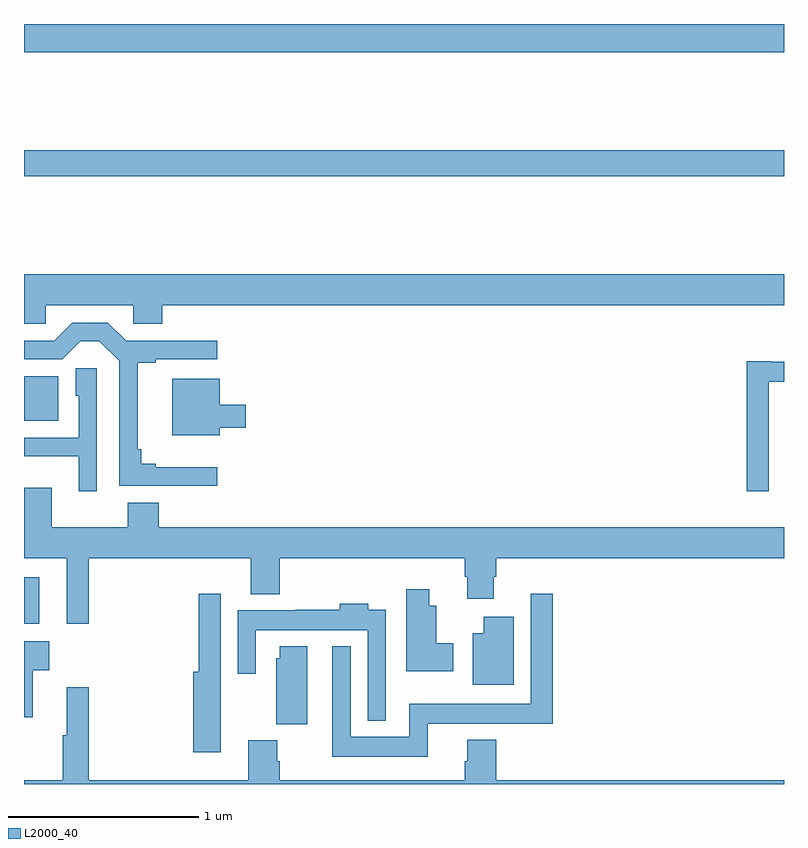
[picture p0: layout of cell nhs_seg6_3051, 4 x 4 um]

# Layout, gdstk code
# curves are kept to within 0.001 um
import gdstk
lib = gdstk.Library(unit=1e-6, precision=1e-09)
def R(c, l, rs):  # rectangles x0, y0, x1, y1
    for r in rs: c.add(gdstk.rectangle(r[:2], r[2:], *l))
def P(c, l, *ps):  # polygons
    for p in ps: c.add(gdstk.Polygon(p, *l))
L2000_40 = (2000, 40)

nhs_seg6_3051 = lib.new_cell('nhs_seg6_3051')
R(nhs_seg6_3051, L2000_40, [(291,928.343,291.079,928.588), (291,929.411,291.181,929.647), (291,930.7,295,930.836), (291,931.352,295,931.5)])
P(nhs_seg6_3051, L2000_40, [(291.114,930.02),(291.576,930.02),(291.576,929.922),(291.728,929.922),(291.728,930.02),(295,930.02),(295,930.184),(291,930.184),(291,929.922),(291.114,929.922)],
  [(292.018,929.167),(291.694,929.167),(291.694,929.186),(291.617,929.186),(291.617,929.263),(291.599,929.263),(291.599,929.716),(291.694,929.716),(291.694,929.736),(292.018,929.736),(292.018,929.834),(291.771,929.834),(291.771,929.832),(291.538,929.832),(291.442,929.928),(291.255,929.928),(291.159,929.832),(291,929.832),(291,929.736),(291.201,929.736),(291.296,929.831),(291.397,929.831),(291.501,929.727),(291.501,929.07),(292.018,929.069)],
  [(294.921,929.618),(295,929.618),(295,929.722),(294.928,929.722),(294.928,929.725),(294.805,929.725),(294.805,929.04),(294.921,929.04)],
  [(291.384,929.687),(291.272,929.687),(291.272,929.544),(291.288,929.544),(291.288,929.322),(291,929.322),(291,929.225),(291.287,929.225),(291.287,929.04),(291.384,929.04)],
  [(292.03,929.375),(292.168,929.375),(292.168,929.497),(292.03,929.497),(292.03,929.632),(291.779,929.632),(291.779,929.336),(292.03,929.336)],
  [(291.341,928.688),(292.193,928.688),(292.193,928.499),(292.346,928.499),(292.346,928.688),(293.321,928.688),(293.321,928.59),(293.333,928.59),(293.333,928.476),(293.473,928.476),(293.473,928.59),(293.486,928.59),(293.486,928.688),(295,928.688),(295,928.852),(291.709,928.852),(291.709,928.981),(291.545,928.981),(291.545,928.852),(291.145,928.852),(291.145,929.059),(291,929.059),(291,928.688),(291.224,928.688),(291.224,928.344),(291.341,928.344)],
  [(293.26,928.242),(293.17,928.242),(293.17,928.438),(293.134,928.438),(293.134,928.525),(293.012,928.525),(293.012,928.094),(293.26,928.094)],
  [(293.126,927.818),(293.66,927.818),(293.66,927.816),(293.783,927.816),(293.783,928.501),(293.667,928.501),(293.667,927.922),(293.028,927.922),(293.028,927.748),(292.719,927.748),(292.719,928.225),(292.622,928.225),(292.622,927.644),(293.126,927.644)],
  [(292.036,927.986),(292.035,927.986),(292.035,928.501),(291.919,928.501),(291.919,928.09),(291.89,928.09),(291.89,927.666),(292.036,927.666)],
  [(292.905,928.417),(292.813,928.417),(292.813,928.45),(292.661,928.45),(292.661,928.417),(292.429,928.417),(292.429,928.414),(292.125,928.414),(292.125,928.08),(292.221,928.08),(292.221,928.31),(292.809,928.31),(292.809,927.833),(292.905,927.833)],
  [(293.578,928.381),(293.42,928.381),(293.42,928.294),(293.363,928.294),(293.363,928.022),(293.578,928.022)],
  [(291.047,928.1),(291.133,928.1),(291.133,928.252),(291,928.252),(291,927.852),(291.047,927.852)],
  [(292.492,928.225),(292.346,928.225),(292.346,928.161),(292.328,928.161),(292.328,927.814),(292.492,927.814)],
  [(295,927.52),(293.486,927.52),(293.486,927.733),(293.333,927.733),(293.333,927.621),(293.321,927.621),(293.321,927.52),(292.346,927.52),(292.346,927.62),(292.333,927.62),(292.333,927.729),(292.181,927.729),(292.181,927.52),(291.341,927.52),(291.341,928.009),(291.224,928.009),(291.224,927.756),(291.205,927.756),(291.205,927.52),(291,927.52),(291,927.5),(295,927.5)])

lib.write_gds('nhs_seg6_3051.gds')
